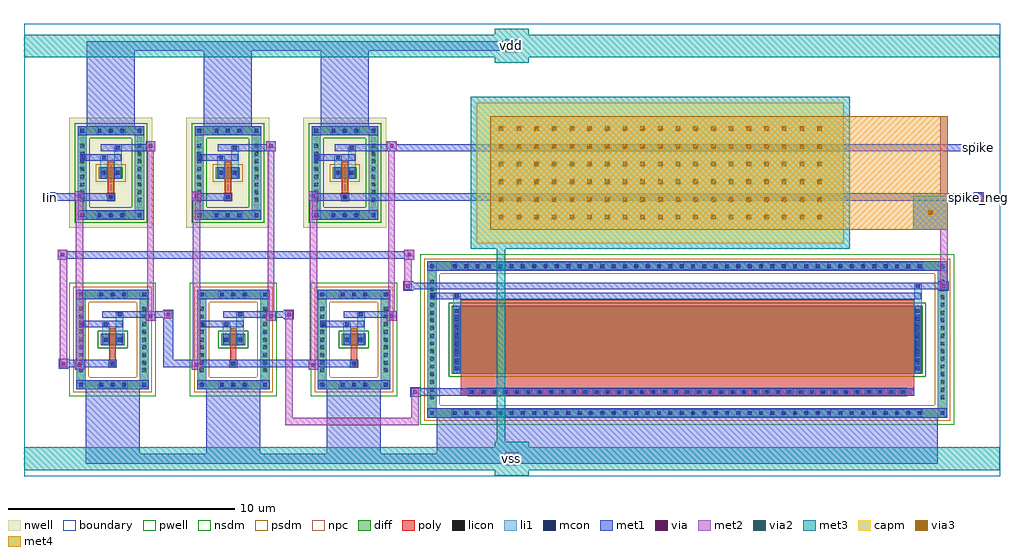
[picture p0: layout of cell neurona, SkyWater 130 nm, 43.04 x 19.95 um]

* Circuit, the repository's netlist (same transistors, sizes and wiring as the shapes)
** sch_path: /foss/designs/libs/snn_analog/lif/sch/neurona.sch
.subckt neurona Iin vdd vss spike spike_neg
*.PININFO vdd:B vss:B Iin:I spike:O spike_neg:O
XM2 spike_neg Iin vss vss sky130_fd_pr__nfet_01v8 L=0.28 W=0.5 nf=1
XM1 spike_neg Iin vdd vdd sky130_fd_pr__pfet_01v8 L=0.28 W=0.5 nf=1
XM3 spike/reset spike_neg vdd vdd sky130_fd_pr__pfet_01v8 L=0.28 W=0.5 nf=1
XM4 spike/reset spike_neg vss vss sky130_fd_pr__nfet_01v8 L=0.28 W=0.5 nf=1
XM5 Iin spike/reset vss vss sky130_fd_pr__nfet_01v8 L=20 W=3 nf=1
XM6 spike spike_neg vdd vdd sky130_fd_pr__pfet_01v8 L=0.28 W=0.5 nf=1
XM7 spike spike_neg vss vss sky130_fd_pr__nfet_01v8 L=0.28 W=0.5 nf=1
XC1 Iin vss sky130_fd_pr__cap_mim_m3_1 W=15 L=5
.ends

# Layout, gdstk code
import gdstk
lib = gdstk.Library(unit=1e-6, precision=1e-09)
def R(c, l, rs):  # rectangles x0, y0, x1, y1
    for r in rs: c.add(gdstk.rectangle(r[:2], r[2:], *l))
def A(c, l, x, y, w, h, nx, ny, dx, dy):  # array of equal rectangles
    R(c, l, [(x+i*dx, y+j*dy, x+i*dx+w, y+j*dy+h) for i in range(nx) for j in range(ny)])
def P(c, l, *ps):  # polygons
    for p in ps: c.add(gdstk.Polygon(p, *l))
nwell = (64, 20)
pwell = (64, 44)
diff = (65, 20)
poly = (66, 20)
licon = (66, 44)
li1 = (67, 20)
mcon = (67, 44)
met1 = (68, 20)
via = (68, 44)
met2 = (69, 20)
via2 = (69, 44)
met3 = (70, 20)
via3 = (70, 44)
met4 = (71, 20)
capm = (89, 44)
nsdm = (93, 44)
psdm = (94, 20)
npc = (95, 20)
boundary = (235, 4)

c_m1 = lib.new_cell('m1')
R(c_m1, nwell, [(-1.83,-2.425,1.83,2.425), (-1.65,-2.245,1.65,2.245)])
A(c_m1, diff, -0.705, -2.065, 0.41, 0.41, 3, 2, 0.5, 3.72)
A(c_m1, diff, -1.47, -1.395, 0.41, 0.41, 1, 8, 0, 0.34)
A(c_m1, diff, 1.06, -1.395, 0.41, 0.41, 1, 8, 0, 0.34)
R(c_m1, diff, [(-0.705,-2.065,0.705,-1.655), (-1.47,-1.395,-1.06,1.395), (1.06,-1.395,1.47,1.395), (-0.53,-0.25,0.53,0.25), (-0.705,1.655,0.705,2.065)])
P(c_m1, diff, [(-1.47,-2.065),(-1.47,-1.655),(-1.06,-1.655),(1.06,-1.655),(1.06,1.655),(-1.06,1.655),(-1.06,-1.655),(-1.47,-1.655),(-1.47,2.065),(1.47,2.065),(1.47,-2.065)])
R(c_m1, poly, [(-0.165,-1.23,0.165,-0.9), (-0.165,-1.23,0.165,-0.9), (-0.14,-0.9,0.14,-0.5), (-0.14,-0.5,0.14,0.5)])
A(c_m1, licon, -0.585, -1.945, 0.17, 0.17, 3, 2, 0.5, 3.72)
A(c_m1, licon, -1.35, -1.275, 0.17, 0.17, 1, 8, 0, 0.34)
A(c_m1, licon, 1.18, -1.275, 0.17, 0.17, 1, 8, 0, 0.34)
R(c_m1, licon, [(-0.085,-1.15,0.085,-0.98), (-0.39,-0.085,-0.22,0.085), (0.22,-0.085,0.39,0.085)])
A(c_m1, li1, -0.665, -2.025, 0.33, 0.33, 3, 2, 0.5, 3.72)
A(c_m1, li1, -1.43, -1.355, 0.33, 0.33, 1, 8, 0, 0.34)
A(c_m1, li1, 1.1, -1.355, 0.33, 0.33, 1, 8, 0, 0.34)
R(c_m1, li1, [(-1.47,-2.065,-1.06,-1.655), (1.06,-2.065,1.47,-1.655), (-0.665,-2.025,0.665,-1.695), (-1.35,-1.945,-1.18,-1.775), (-1.35,-1.945,-1.18,-1.775), (1.18,-1.945,1.35,-1.775), (1.18,-1.945,1.35,-1.775), (-1.47,-1.655,-1.06,1.655), (1.06,-1.655,1.47,1.655), (-0.165,-1.23,0.165,-0.9), (-0.47,-0.25,-0.14,0.25), (0.14,-0.25,0.47,0.25), (-0.47,-0.165,-0.14,0.165), (0.14,-0.165,0.47,0.165), (-0.39,-0.085,-0.22,0.085), (-0.39,-0.085,-0.22,0.085), (0.22,-0.085,0.39,0.085), (0.22,-0.085,0.39,0.085), (-0.47,0.25,-0.14,0.765), (0.14,0.25,0.47,1.195), (-0.39,0.595,-0.22,0.765), (0.22,1.025,0.39,1.195), (-1.47,1.655,-1.06,2.065), (1.06,1.655,1.47,2.065), (-0.665,1.695,0.665,2.025), (-1.35,1.775,-1.18,1.945), (-1.35,1.775,-1.18,1.945), (1.18,1.775,1.35,1.945), (1.18,1.775,1.35,1.945)])
A(c_m1, mcon, -0.585, -1.945, 0.17, 0.17, 3, 2, 0.5, 3.72)
R(c_m1, mcon, [(-1.35,-1.945,-1.18,-1.775), (1.18,-1.945,1.35,-1.775), (-0.085,-1.15,0.085,-0.98), (-0.39,-0.085,-0.22,0.085), (0.22,-0.085,0.39,0.085), (-0.39,0.595,-0.22,0.765), (0.22,1.025,0.39,1.195), (-1.35,1.775,-1.18,1.945), (1.18,1.775,1.35,1.945)])
A(c_m1, met1, -0.645, -2.005, 0.29, 0.29, 3, 2, 0.5, 3.72)
R(c_m1, met1, [(-1.47,-2.065,-1.06,-1.655), (-1.47,-2.065,-1.06,-1.655), (-1.06,-2.065,1.06,-1.655), (1.06,-2.065,1.47,-1.655), (1.06,-2.065,1.47,-1.655), (-1.41,-2.005,-1.12,-1.715), (1.12,-2.005,1.41,-1.715), (-0.165,-1.23,0.165,-0.9), (-0.145,-1.21,0.145,-0.92), (-0.45,-0.25,-0.16,0.25), (0.16,-0.25,0.45,0.25), (-0.45,-0.145,-0.16,0.145), (0.16,-0.145,0.45,0.145), (-0.45,0.535,-0.16,0.825), (-0.45,0.535,0.45,0.825), (-0.45,0.965,0.45,1.255), (0.16,0.965,0.45,1.255), (-1.47,1.655,-1.06,2.065), (-1.47,1.655,-1.06,2.065), (-1.06,1.655,1.06,2.065), (1.06,1.655,1.47,2.065), (1.06,1.655,1.47,2.065), (-1.41,1.715,-1.12,2.005), (1.12,1.715,1.41,2.005)])
P(c_m1, nsdm, [(-1.6,-2.195),(-1.6,-1.525),(-0.93,-1.525),(0.93,-1.525),(0.93,1.525),(-0.93,1.525),(-0.93,-1.525),(-1.6,-1.525),(-1.6,2.195),(1.6,2.195),(1.6,-2.195)])
R(c_m1, psdm, [(-0.66,-0.38,0.66,0.38)])
R(c_m1, npc, [(-0.185,-1.25,0.185,-0.88), (-0.185,-1.25,0.185,-0.88)])

c_m3 = lib.new_cell('m3')
R(c_m3, nwell, [(-1.83,-2.425,1.83,2.425), (-1.65,-2.245,1.65,2.245)])
A(c_m3, diff, -0.705, -2.065, 0.41, 0.41, 3, 2, 0.5, 3.72)
A(c_m3, diff, -1.47, -1.395, 0.41, 0.41, 1, 8, 0, 0.34)
A(c_m3, diff, 1.06, -1.395, 0.41, 0.41, 1, 8, 0, 0.34)
R(c_m3, diff, [(-0.705,-2.065,0.705,-1.655), (-1.47,-1.395,-1.06,1.395), (1.06,-1.395,1.47,1.395), (-0.53,-0.25,0.53,0.25), (-0.705,1.655,0.705,2.065)])
P(c_m3, diff, [(-1.47,-2.065),(-1.47,-1.655),(-1.06,-1.655),(1.06,-1.655),(1.06,1.655),(-1.06,1.655),(-1.06,-1.655),(-1.47,-1.655),(-1.47,2.065),(1.47,2.065),(1.47,-2.065)])
R(c_m3, poly, [(-0.165,-1.23,0.165,-0.9), (-0.165,-1.23,0.165,-0.9), (-0.14,-0.9,0.14,-0.5), (-0.14,-0.5,0.14,0.5)])
A(c_m3, licon, -0.585, -1.945, 0.17, 0.17, 3, 2, 0.5, 3.72)
A(c_m3, licon, -1.35, -1.275, 0.17, 0.17, 1, 8, 0, 0.34)
A(c_m3, licon, 1.18, -1.275, 0.17, 0.17, 1, 8, 0, 0.34)
R(c_m3, licon, [(-0.085,-1.15,0.085,-0.98), (-0.39,-0.085,-0.22,0.085), (0.22,-0.085,0.39,0.085)])
A(c_m3, li1, -0.665, -2.025, 0.33, 0.33, 3, 2, 0.5, 3.72)
A(c_m3, li1, -1.43, -1.355, 0.33, 0.33, 1, 8, 0, 0.34)
A(c_m3, li1, 1.1, -1.355, 0.33, 0.33, 1, 8, 0, 0.34)
R(c_m3, li1, [(-1.47,-2.065,-1.06,-1.655), (1.06,-2.065,1.47,-1.655), (-0.665,-2.025,0.665,-1.695), (-1.35,-1.945,-1.18,-1.775), (-1.35,-1.945,-1.18,-1.775), (1.18,-1.945,1.35,-1.775), (1.18,-1.945,1.35,-1.775), (-1.47,-1.655,-1.06,1.655), (1.06,-1.655,1.47,1.655), (-0.165,-1.23,0.165,-0.9), (-0.47,-0.25,-0.14,0.25), (0.14,-0.25,0.47,0.25), (-0.47,-0.165,-0.14,0.165), (0.14,-0.165,0.47,0.165), (-0.39,-0.085,-0.22,0.085), (-0.39,-0.085,-0.22,0.085), (0.22,-0.085,0.39,0.085), (0.22,-0.085,0.39,0.085), (-0.47,0.25,-0.14,0.765), (0.14,0.25,0.47,1.195), (-0.39,0.595,-0.22,0.765), (0.22,1.025,0.39,1.195), (-1.47,1.655,-1.06,2.065), (1.06,1.655,1.47,2.065), (-0.665,1.695,0.665,2.025), (-1.35,1.775,-1.18,1.945), (-1.35,1.775,-1.18,1.945), (1.18,1.775,1.35,1.945), (1.18,1.775,1.35,1.945)])
A(c_m3, mcon, -0.585, -1.945, 0.17, 0.17, 3, 2, 0.5, 3.72)
R(c_m3, mcon, [(-1.35,-1.945,-1.18,-1.775), (1.18,-1.945,1.35,-1.775), (-0.085,-1.15,0.085,-0.98), (-0.39,-0.085,-0.22,0.085), (0.22,-0.085,0.39,0.085), (-0.39,0.595,-0.22,0.765), (0.22,1.025,0.39,1.195), (-1.35,1.775,-1.18,1.945), (1.18,1.775,1.35,1.945)])
A(c_m3, met1, -0.645, -2.005, 0.29, 0.29, 3, 2, 0.5, 3.72)
R(c_m3, met1, [(-1.47,-2.065,-1.06,-1.655), (-1.47,-2.065,-1.06,-1.655), (-1.06,-2.065,1.06,-1.655), (1.06,-2.065,1.47,-1.655), (1.06,-2.065,1.47,-1.655), (-1.41,-2.005,-1.12,-1.715), (1.12,-2.005,1.41,-1.715), (-0.165,-1.23,0.165,-0.9), (-0.145,-1.21,0.145,-0.92), (-0.45,-0.25,-0.16,0.25), (0.16,-0.25,0.45,0.25), (-0.45,-0.145,-0.16,0.145), (0.16,-0.145,0.45,0.145), (-0.45,0.535,-0.16,0.825), (-0.45,0.535,0.45,0.825), (-0.45,0.965,0.45,1.255), (0.16,0.965,0.45,1.255), (-1.47,1.655,-1.06,2.065), (-1.47,1.655,-1.06,2.065), (-1.06,1.655,1.06,2.065), (1.06,1.655,1.47,2.065), (1.06,1.655,1.47,2.065), (-1.41,1.715,-1.12,2.005), (1.12,1.715,1.41,2.005)])
P(c_m3, nsdm, [(-1.6,-2.195),(-1.6,-1.525),(-0.93,-1.525),(0.93,-1.525),(0.93,1.525),(-0.93,1.525),(-0.93,-1.525),(-1.6,-1.525),(-1.6,2.195),(1.6,2.195),(1.6,-2.195)])
R(c_m3, psdm, [(-0.66,-0.38,0.66,0.38)])
R(c_m3, npc, [(-0.185,-1.25,0.185,-0.88), (-0.185,-1.25,0.185,-0.88)])

c_m6 = lib.new_cell('m6')
R(c_m6, nwell, [(-1.83,-2.425,1.83,2.425), (-1.65,-2.245,1.65,2.245)])
A(c_m6, diff, -0.705, -2.065, 0.41, 0.41, 3, 2, 0.5, 3.72)
A(c_m6, diff, -1.47, -1.395, 0.41, 0.41, 1, 8, 0, 0.34)
A(c_m6, diff, 1.06, -1.395, 0.41, 0.41, 1, 8, 0, 0.34)
R(c_m6, diff, [(-0.705,-2.065,0.705,-1.655), (-1.47,-1.395,-1.06,1.395), (1.06,-1.395,1.47,1.395), (-0.53,-0.25,0.53,0.25), (-0.705,1.655,0.705,2.065)])
P(c_m6, diff, [(-1.47,-2.065),(-1.47,-1.655),(-1.06,-1.655),(1.06,-1.655),(1.06,1.655),(-1.06,1.655),(-1.06,-1.655),(-1.47,-1.655),(-1.47,2.065),(1.47,2.065),(1.47,-2.065)])
R(c_m6, poly, [(-0.165,-1.23,0.165,-0.9), (-0.165,-1.23,0.165,-0.9), (-0.14,-0.9,0.14,-0.5), (-0.14,-0.5,0.14,0.5)])
A(c_m6, licon, -0.585, -1.945, 0.17, 0.17, 3, 2, 0.5, 3.72)
A(c_m6, licon, -1.35, -1.275, 0.17, 0.17, 1, 8, 0, 0.34)
A(c_m6, licon, 1.18, -1.275, 0.17, 0.17, 1, 8, 0, 0.34)
R(c_m6, licon, [(-0.085,-1.15,0.085,-0.98), (-0.39,-0.085,-0.22,0.085), (0.22,-0.085,0.39,0.085)])
A(c_m6, li1, -0.665, -2.025, 0.33, 0.33, 3, 2, 0.5, 3.72)
A(c_m6, li1, -1.43, -1.355, 0.33, 0.33, 1, 8, 0, 0.34)
A(c_m6, li1, 1.1, -1.355, 0.33, 0.33, 1, 8, 0, 0.34)
R(c_m6, li1, [(-1.47,-2.065,-1.06,-1.655), (1.06,-2.065,1.47,-1.655), (-0.665,-2.025,0.665,-1.695), (-1.35,-1.945,-1.18,-1.775), (-1.35,-1.945,-1.18,-1.775), (1.18,-1.945,1.35,-1.775), (1.18,-1.945,1.35,-1.775), (-1.47,-1.655,-1.06,1.655), (1.06,-1.655,1.47,1.655), (-0.165,-1.23,0.165,-0.9), (-0.47,-0.25,-0.14,0.25), (0.14,-0.25,0.47,0.25), (-0.47,-0.165,-0.14,0.165), (0.14,-0.165,0.47,0.165), (-0.39,-0.085,-0.22,0.085), (-0.39,-0.085,-0.22,0.085), (0.22,-0.085,0.39,0.085), (0.22,-0.085,0.39,0.085), (-0.47,0.25,-0.14,0.765), (0.14,0.25,0.47,1.195), (-0.39,0.595,-0.22,0.765), (0.22,1.025,0.39,1.195), (-1.47,1.655,-1.06,2.065), (1.06,1.655,1.47,2.065), (-0.665,1.695,0.665,2.025), (-1.35,1.775,-1.18,1.945), (-1.35,1.775,-1.18,1.945), (1.18,1.775,1.35,1.945), (1.18,1.775,1.35,1.945)])
A(c_m6, mcon, -0.585, -1.945, 0.17, 0.17, 3, 2, 0.5, 3.72)
R(c_m6, mcon, [(-1.35,-1.945,-1.18,-1.775), (1.18,-1.945,1.35,-1.775), (-0.085,-1.15,0.085,-0.98), (-0.39,-0.085,-0.22,0.085), (0.22,-0.085,0.39,0.085), (-0.39,0.595,-0.22,0.765), (0.22,1.025,0.39,1.195), (-1.35,1.775,-1.18,1.945), (1.18,1.775,1.35,1.945)])
A(c_m6, met1, -0.645, -2.005, 0.29, 0.29, 3, 2, 0.5, 3.72)
R(c_m6, met1, [(-1.47,-2.065,-1.06,-1.655), (-1.47,-2.065,-1.06,-1.655), (-1.06,-2.065,1.06,-1.655), (1.06,-2.065,1.47,-1.655), (1.06,-2.065,1.47,-1.655), (-1.41,-2.005,-1.12,-1.715), (1.12,-2.005,1.41,-1.715), (-0.165,-1.23,0.165,-0.9), (-0.145,-1.21,0.145,-0.92), (-0.45,-0.25,-0.16,0.25), (0.16,-0.25,0.45,0.25), (-0.45,-0.145,-0.16,0.145), (0.16,-0.145,0.45,0.145), (-0.45,0.535,-0.16,0.825), (-0.45,0.535,0.45,0.825), (-0.45,0.965,0.45,1.255), (0.16,0.965,0.45,1.255), (-1.47,1.655,-1.06,2.065), (-1.47,1.655,-1.06,2.065), (-1.06,1.655,1.06,2.065), (1.06,1.655,1.47,2.065), (1.06,1.655,1.47,2.065), (-1.41,1.715,-1.12,2.005), (1.12,1.715,1.41,2.005)])
P(c_m6, nsdm, [(-1.6,-2.195),(-1.6,-1.525),(-0.93,-1.525),(0.93,-1.525),(0.93,1.525),(-0.93,1.525),(-0.93,-1.525),(-1.6,-1.525),(-1.6,2.195),(1.6,2.195),(1.6,-2.195)])
R(c_m6, psdm, [(-0.66,-0.38,0.66,0.38)])
R(c_m6, npc, [(-0.185,-1.25,0.185,-0.88), (-0.185,-1.25,0.185,-0.88)])

c_m2 = lib.new_cell('m2')
R(c_m2, pwell, [(-1.91,-2.505,1.91,2.505)])
A(c_m2, diff, -0.705, -2.195, 0.41, 0.41, 3, 2, 0.5, 3.98)
A(c_m2, diff, -1.6, -1.565, 0.41, 0.41, 1, 9, 0, 0.34)
A(c_m2, diff, 1.19, -1.565, 0.41, 0.41, 1, 9, 0, 0.34)
R(c_m2, diff, [(-0.705,-2.195,0.705,-1.785), (-1.6,-1.565,-1.19,1.565), (1.19,-1.565,1.6,1.565), (-0.53,-0.25,0.53,0.25), (-0.705,1.785,0.705,2.195)])
P(c_m2, diff, [(-1.6,-2.195),(-1.6,-1.785),(-1.19,-1.785),(1.19,-1.785),(1.19,1.785),(-1.19,1.785),(-1.19,-1.785),(-1.6,-1.785),(-1.6,2.195),(1.6,2.195),(1.6,-2.195)])
R(c_m2, poly, [(-0.165,-1.23,0.165,-0.9), (-0.165,-1.23,0.165,-0.9), (-0.14,-0.9,0.14,-0.5), (-0.14,-0.5,0.14,0.5)])
A(c_m2, licon, -0.585, -2.075, 0.17, 0.17, 3, 2, 0.5, 3.98)
A(c_m2, licon, -1.48, -1.445, 0.17, 0.17, 1, 9, 0, 0.34)
A(c_m2, licon, 1.31, -1.445, 0.17, 0.17, 1, 9, 0, 0.34)
R(c_m2, licon, [(-0.085,-1.15,0.085,-0.98), (-0.39,-0.085,-0.22,0.085), (0.22,-0.085,0.39,0.085)])
A(c_m2, li1, -0.665, -2.155, 0.33, 0.33, 3, 2, 0.5, 3.98)
A(c_m2, li1, -1.56, -1.525, 0.33, 0.33, 1, 9, 0, 0.34)
A(c_m2, li1, 1.23, -1.525, 0.33, 0.33, 1, 9, 0, 0.34)
R(c_m2, li1, [(-1.6,-2.195,-1.19,-1.785), (1.19,-2.195,1.6,-1.785), (-0.665,-2.155,0.665,-1.825), (-1.48,-2.075,-1.31,-1.905), (-1.48,-2.075,-1.31,-1.905), (1.31,-2.075,1.48,-1.905), (1.31,-2.075,1.48,-1.905), (-1.6,-1.785,-1.19,1.785), (1.19,-1.785,1.6,1.785), (-0.165,-1.23,0.165,-0.9), (-0.47,-0.25,-0.14,0.25), (0.14,-0.25,0.47,0.25), (-0.47,-0.165,-0.14,0.165), (0.14,-0.165,0.47,0.165), (-0.39,-0.085,-0.22,0.085), (-0.39,-0.085,-0.22,0.085), (0.22,-0.085,0.39,0.085), (0.22,-0.085,0.39,0.085), (-0.47,0.25,-0.14,0.765), (0.14,0.25,0.47,1.195), (-0.39,0.595,-0.22,0.765), (0.22,1.025,0.39,1.195), (-1.6,1.785,-1.19,2.195), (1.19,1.785,1.6,2.195), (-0.665,1.825,0.665,2.155), (-1.48,1.905,-1.31,2.075), (-1.48,1.905,-1.31,2.075), (1.31,1.905,1.48,2.075), (1.31,1.905,1.48,2.075)])
A(c_m2, mcon, -0.585, -2.075, 0.17, 0.17, 3, 2, 0.5, 3.98)
R(c_m2, mcon, [(-1.48,-2.075,-1.31,-1.905), (1.31,-2.075,1.48,-1.905), (-0.085,-1.15,0.085,-0.98), (-0.39,-0.085,-0.22,0.085), (0.22,-0.085,0.39,0.085), (-0.39,0.595,-0.22,0.765), (0.22,1.025,0.39,1.195), (-1.48,1.905,-1.31,2.075), (1.31,1.905,1.48,2.075)])
A(c_m2, met1, -0.645, -2.135, 0.29, 0.29, 3, 2, 0.5, 3.98)
R(c_m2, met1, [(-1.6,-2.195,-1.19,-1.785), (-1.6,-2.195,-1.19,-1.785), (-1.19,-2.195,1.19,-1.785), (1.19,-2.195,1.6,-1.785), (1.19,-2.195,1.6,-1.785), (-1.54,-2.135,-1.25,-1.845), (1.25,-2.135,1.54,-1.845), (-0.165,-1.23,0.165,-0.9), (-0.145,-1.21,0.145,-0.92), (-0.45,-0.25,-0.16,0.25), (0.16,-0.25,0.45,0.25), (-0.45,-0.145,-0.16,0.145), (0.16,-0.145,0.45,0.145), (-0.45,0.535,-0.16,0.825), (-0.45,0.535,0.45,0.825), (-0.45,0.965,0.45,1.255), (0.16,0.965,0.45,1.255), (-1.6,1.785,-1.19,2.195), (-1.6,1.785,-1.19,2.195), (-1.19,1.785,1.19,2.195), (1.19,1.785,1.6,2.195), (1.19,1.785,1.6,2.195), (-1.54,1.845,-1.25,2.135), (1.25,1.845,1.54,2.135)])
R(c_m2, nsdm, [(-0.66,-0.38,0.66,0.38)])
P(c_m2, psdm, [(-1.73,-2.325),(-1.73,-1.655),(-1.06,-1.655),(1.06,-1.655),(1.06,1.655),(-1.06,1.655),(-1.06,-1.655),(-1.73,-1.655),(-1.73,2.325),(1.73,2.325),(1.73,-2.325)])
R(c_m2, npc, [(-0.185,-1.25,0.185,-0.88), (-0.185,-1.25,0.185,-0.88)])

c_m4 = lib.new_cell('m4')
R(c_m4, pwell, [(-1.91,-2.505,1.91,2.505)])
A(c_m4, diff, -0.705, -2.195, 0.41, 0.41, 3, 2, 0.5, 3.98)
A(c_m4, diff, -1.6, -1.565, 0.41, 0.41, 1, 9, 0, 0.34)
A(c_m4, diff, 1.19, -1.565, 0.41, 0.41, 1, 9, 0, 0.34)
R(c_m4, diff, [(-0.705,-2.195,0.705,-1.785), (-1.6,-1.565,-1.19,1.565), (1.19,-1.565,1.6,1.565), (-0.53,-0.25,0.53,0.25), (-0.705,1.785,0.705,2.195)])
P(c_m4, diff, [(-1.6,-2.195),(-1.6,-1.785),(-1.19,-1.785),(1.19,-1.785),(1.19,1.785),(-1.19,1.785),(-1.19,-1.785),(-1.6,-1.785),(-1.6,2.195),(1.6,2.195),(1.6,-2.195)])
R(c_m4, poly, [(-0.165,-1.23,0.165,-0.9), (-0.165,-1.23,0.165,-0.9), (-0.14,-0.9,0.14,-0.5), (-0.14,-0.5,0.14,0.5)])
A(c_m4, licon, -0.585, -2.075, 0.17, 0.17, 3, 2, 0.5, 3.98)
A(c_m4, licon, -1.48, -1.445, 0.17, 0.17, 1, 9, 0, 0.34)
A(c_m4, licon, 1.31, -1.445, 0.17, 0.17, 1, 9, 0, 0.34)
R(c_m4, licon, [(-0.085,-1.15,0.085,-0.98), (-0.39,-0.085,-0.22,0.085), (0.22,-0.085,0.39,0.085)])
A(c_m4, li1, -0.665, -2.155, 0.33, 0.33, 3, 2, 0.5, 3.98)
A(c_m4, li1, -1.56, -1.525, 0.33, 0.33, 1, 9, 0, 0.34)
A(c_m4, li1, 1.23, -1.525, 0.33, 0.33, 1, 9, 0, 0.34)
R(c_m4, li1, [(-1.6,-2.195,-1.19,-1.785), (1.19,-2.195,1.6,-1.785), (-0.665,-2.155,0.665,-1.825), (-1.48,-2.075,-1.31,-1.905), (-1.48,-2.075,-1.31,-1.905), (1.31,-2.075,1.48,-1.905), (1.31,-2.075,1.48,-1.905), (-1.6,-1.785,-1.19,1.785), (1.19,-1.785,1.6,1.785), (-0.165,-1.23,0.165,-0.9), (-0.47,-0.25,-0.14,0.25), (0.14,-0.25,0.47,0.25), (-0.47,-0.165,-0.14,0.165), (0.14,-0.165,0.47,0.165), (-0.39,-0.085,-0.22,0.085), (-0.39,-0.085,-0.22,0.085), (0.22,-0.085,0.39,0.085), (0.22,-0.085,0.39,0.085), (-0.47,0.25,-0.14,0.765), (0.14,0.25,0.47,1.195), (-0.39,0.595,-0.22,0.765), (0.22,1.025,0.39,1.195), (-1.6,1.785,-1.19,2.195), (1.19,1.785,1.6,2.195), (-0.665,1.825,0.665,2.155), (-1.48,1.905,-1.31,2.075), (-1.48,1.905,-1.31,2.075), (1.31,1.905,1.48,2.075), (1.31,1.905,1.48,2.075)])
A(c_m4, mcon, -0.585, -2.075, 0.17, 0.17, 3, 2, 0.5, 3.98)
R(c_m4, mcon, [(-1.48,-2.075,-1.31,-1.905), (1.31,-2.075,1.48,-1.905), (-0.085,-1.15,0.085,-0.98), (-0.39,-0.085,-0.22,0.085), (0.22,-0.085,0.39,0.085), (-0.39,0.595,-0.22,0.765), (0.22,1.025,0.39,1.195), (-1.48,1.905,-1.31,2.075), (1.31,1.905,1.48,2.075)])
A(c_m4, met1, -0.645, -2.135, 0.29, 0.29, 3, 2, 0.5, 3.98)
R(c_m4, met1, [(-1.6,-2.195,-1.19,-1.785), (-1.6,-2.195,-1.19,-1.785), (-1.19,-2.195,1.19,-1.785), (1.19,-2.195,1.6,-1.785), (1.19,-2.195,1.6,-1.785), (-1.54,-2.135,-1.25,-1.845), (1.25,-2.135,1.54,-1.845), (-0.165,-1.23,0.165,-0.9), (-0.145,-1.21,0.145,-0.92), (-0.45,-0.25,-0.16,0.25), (0.16,-0.25,0.45,0.25), (-0.45,-0.145,-0.16,0.145), (0.16,-0.145,0.45,0.145), (-0.45,0.535,-0.16,0.825), (-0.45,0.535,0.45,0.825), (-0.45,0.965,0.45,1.255), (0.16,0.965,0.45,1.255), (-1.6,1.785,-1.19,2.195), (-1.6,1.785,-1.19,2.195), (-1.19,1.785,1.19,2.195), (1.19,1.785,1.6,2.195), (1.19,1.785,1.6,2.195), (-1.54,1.845,-1.25,2.135), (1.25,1.845,1.54,2.135)])
R(c_m4, nsdm, [(-0.66,-0.38,0.66,0.38)])
P(c_m4, psdm, [(-1.73,-2.325),(-1.73,-1.655),(-1.06,-1.655),(1.06,-1.655),(1.06,1.655),(-1.06,1.655),(-1.06,-1.655),(-1.73,-1.655),(-1.73,2.325),(1.73,2.325),(1.73,-2.325)])
R(c_m4, npc, [(-0.185,-1.25,0.185,-0.88), (-0.185,-1.25,0.185,-0.88)])

c_m7 = lib.new_cell('m7')
R(c_m7, pwell, [(-1.91,-2.505,1.91,2.505)])
A(c_m7, diff, -0.705, -2.195, 0.41, 0.41, 3, 2, 0.5, 3.98)
A(c_m7, diff, -1.6, -1.565, 0.41, 0.41, 1, 9, 0, 0.34)
A(c_m7, diff, 1.19, -1.565, 0.41, 0.41, 1, 9, 0, 0.34)
R(c_m7, diff, [(-0.705,-2.195,0.705,-1.785), (-1.6,-1.565,-1.19,1.565), (1.19,-1.565,1.6,1.565), (-0.53,-0.25,0.53,0.25), (-0.705,1.785,0.705,2.195)])
P(c_m7, diff, [(-1.6,-2.195),(-1.6,-1.785),(-1.19,-1.785),(1.19,-1.785),(1.19,1.785),(-1.19,1.785),(-1.19,-1.785),(-1.6,-1.785),(-1.6,2.195),(1.6,2.195),(1.6,-2.195)])
R(c_m7, poly, [(-0.165,-1.23,0.165,-0.9), (-0.165,-1.23,0.165,-0.9), (-0.14,-0.9,0.14,-0.5), (-0.14,-0.5,0.14,0.5)])
A(c_m7, licon, -0.585, -2.075, 0.17, 0.17, 3, 2, 0.5, 3.98)
A(c_m7, licon, -1.48, -1.445, 0.17, 0.17, 1, 9, 0, 0.34)
A(c_m7, licon, 1.31, -1.445, 0.17, 0.17, 1, 9, 0, 0.34)
R(c_m7, licon, [(-0.085,-1.15,0.085,-0.98), (-0.39,-0.085,-0.22,0.085), (0.22,-0.085,0.39,0.085)])
A(c_m7, li1, -0.665, -2.155, 0.33, 0.33, 3, 2, 0.5, 3.98)
A(c_m7, li1, -1.56, -1.525, 0.33, 0.33, 1, 9, 0, 0.34)
A(c_m7, li1, 1.23, -1.525, 0.33, 0.33, 1, 9, 0, 0.34)
R(c_m7, li1, [(-1.6,-2.195,-1.19,-1.785), (1.19,-2.195,1.6,-1.785), (-0.665,-2.155,0.665,-1.825), (-1.48,-2.075,-1.31,-1.905), (-1.48,-2.075,-1.31,-1.905), (1.31,-2.075,1.48,-1.905), (1.31,-2.075,1.48,-1.905), (-1.6,-1.785,-1.19,1.785), (1.19,-1.785,1.6,1.785), (-0.165,-1.23,0.165,-0.9), (-0.47,-0.25,-0.14,0.25), (0.14,-0.25,0.47,0.25), (-0.47,-0.165,-0.14,0.165), (0.14,-0.165,0.47,0.165), (-0.39,-0.085,-0.22,0.085), (-0.39,-0.085,-0.22,0.085), (0.22,-0.085,0.39,0.085), (0.22,-0.085,0.39,0.085), (-0.47,0.25,-0.14,0.765), (0.14,0.25,0.47,1.195), (-0.39,0.595,-0.22,0.765), (0.22,1.025,0.39,1.195), (-1.6,1.785,-1.19,2.195), (1.19,1.785,1.6,2.195), (-0.665,1.825,0.665,2.155), (-1.48,1.905,-1.31,2.075), (-1.48,1.905,-1.31,2.075), (1.31,1.905,1.48,2.075), (1.31,1.905,1.48,2.075)])
A(c_m7, mcon, -0.585, -2.075, 0.17, 0.17, 3, 2, 0.5, 3.98)
R(c_m7, mcon, [(-1.48,-2.075,-1.31,-1.905), (1.31,-2.075,1.48,-1.905), (-0.085,-1.15,0.085,-0.98), (-0.39,-0.085,-0.22,0.085), (0.22,-0.085,0.39,0.085), (-0.39,0.595,-0.22,0.765), (0.22,1.025,0.39,1.195), (-1.48,1.905,-1.31,2.075), (1.31,1.905,1.48,2.075)])
A(c_m7, met1, -0.645, -2.135, 0.29, 0.29, 3, 2, 0.5, 3.98)
R(c_m7, met1, [(-1.6,-2.195,-1.19,-1.785), (-1.6,-2.195,-1.19,-1.785), (-1.19,-2.195,1.19,-1.785), (1.19,-2.195,1.6,-1.785), (1.19,-2.195,1.6,-1.785), (-1.54,-2.135,-1.25,-1.845), (1.25,-2.135,1.54,-1.845), (-0.165,-1.23,0.165,-0.9), (-0.145,-1.21,0.145,-0.92), (-0.45,-0.25,-0.16,0.25), (0.16,-0.25,0.45,0.25), (-0.45,-0.145,-0.16,0.145), (0.16,-0.145,0.45,0.145), (-0.45,0.535,-0.16,0.825), (-0.45,0.535,0.45,0.825), (-0.45,0.965,0.45,1.255), (0.16,0.965,0.45,1.255), (-1.6,1.785,-1.19,2.195), (-1.6,1.785,-1.19,2.195), (-1.19,1.785,1.19,2.195), (1.19,1.785,1.6,2.195), (1.19,1.785,1.6,2.195), (-1.54,1.845,-1.25,2.135), (1.25,1.845,1.54,2.135)])
R(c_m7, nsdm, [(-0.66,-0.38,0.66,0.38)])
P(c_m7, psdm, [(-1.73,-2.325),(-1.73,-1.655),(-1.06,-1.655),(1.06,-1.655),(1.06,1.655),(-1.06,1.655),(-1.06,-1.655),(-1.73,-1.655),(-1.73,2.325),(1.73,2.325),(1.73,-2.325)])
R(c_m7, npc, [(-0.185,-1.25,0.185,-0.88), (-0.185,-1.25,0.185,-0.88)])

c_m5 = lib.new_cell('m5')
R(c_m5, pwell, [(-11.77,-3.755,11.77,3.755)])
A(c_m5, diff, -10.455, -3.445, 0.41, 0.41, 42, 2, 0.5, 6.48)
A(c_m5, diff, -11.46, -2.755, 0.41, 0.41, 1, 16, 0, 0.34)
A(c_m5, diff, 11.05, -2.755, 0.41, 0.41, 1, 16, 0, 0.34)
R(c_m5, diff, [(-10.455,-3.445,10.455,-3.035), (-11.46,-2.755,-11.05,2.755), (11.05,-2.755,11.46,2.755), (-10.39,-1.5,10.39,1.5), (-10.455,3.035,10.455,3.445)])
P(c_m5, diff, [(-11.46,-3.445),(-11.46,-3.035),(-11.05,-3.035),(11.05,-3.035),(11.05,3.035),(-11.05,3.035),(-11.05,-3.035),(-11.46,-3.035),(-11.46,3.445),(11.46,3.445),(11.46,-3.445)])
A(c_m5, poly, -9.665, -2.48, 0.33, 0.33, 39, 1, 0.5, 0)
R(c_m5, poly, [(-10,-2.48,10,-2.15), (-10,-2.15,10,-1.75), (-10,-1.75,10,1.75)])
A(c_m5, licon, -10.335, -3.325, 0.17, 0.17, 42, 2, 0.5, 6.48)
A(c_m5, licon, -11.34, -2.635, 0.17, 0.17, 1, 16, 0, 0.34)
A(c_m5, licon, 11.17, -2.635, 0.17, 0.17, 1, 16, 0, 0.34)
A(c_m5, licon, -9.585, -2.4, 0.17, 0.17, 39, 1, 0.5, 0)
A(c_m5, licon, -10.25, -1.105, 0.17, 0.17, 1, 7, 0, 0.34)
A(c_m5, licon, 10.08, -1.105, 0.17, 0.17, 1, 7, 0, 0.34)
A(c_m5, li1, -10.415, -3.405, 0.33, 0.33, 42, 2, 0.5, 6.48)
A(c_m5, li1, -11.42, -2.715, 0.33, 0.33, 1, 16, 0, 0.34)
A(c_m5, li1, 11.09, -2.715, 0.33, 0.33, 1, 16, 0, 0.34)
A(c_m5, li1, -9.665, -2.48, 0.33, 0.33, 39, 1, 0.5, 0)
A(c_m5, li1, -10.25, -1.345, 0.17, 0.17, 1, 8, 0, 0.36)
A(c_m5, li1, 10.08, -1.345, 0.17, 0.17, 1, 8, 0, 0.36)
A(c_m5, li1, -10.33, -1.185, 0.33, 0.33, 1, 7, 0, 0.34)
A(c_m5, li1, 10, -1.185, 0.33, 0.33, 1, 7, 0, 0.34)
R(c_m5, li1, [(-11.46,-3.445,-11.05,-3.035), (11.05,-3.445,11.46,-3.035), (-10.415,-3.405,10.415,-3.075), (-11.34,-3.325,-11.17,-3.155), (-11.34,-3.325,-11.17,-3.155), (11.17,-3.325,11.34,-3.155), (11.17,-3.325,11.34,-3.155), (-11.46,-3.035,-11.05,3.035), (11.05,-3.035,11.46,3.035), (-10.33,-1.5,-10,1.5), (10,-1.5,10.33,1.5), (-10.25,-1.345,-10.08,1.345), (10.08,-1.345,10.25,1.345), (-10.33,1.5,-10,2.015), (10,1.5,10.33,2.445), (-10.25,1.845,-10.08,2.015), (10.08,2.275,10.25,2.445), (-11.46,3.035,-11.05,3.445), (11.05,3.035,11.46,3.445), (-10.415,3.075,10.415,3.405), (-11.34,3.155,-11.17,3.325), (-11.34,3.155,-11.17,3.325), (11.17,3.155,11.34,3.325), (11.17,3.155,11.34,3.325)])
A(c_m5, mcon, -10.335, -3.325, 0.17, 0.17, 42, 2, 0.5, 6.48)
A(c_m5, mcon, -9.585, -2.4, 0.17, 0.17, 39, 1, 0.5, 0)
A(c_m5, mcon, -10.25, -1.345, 0.17, 0.17, 1, 8, 0, 0.36)
A(c_m5, mcon, 10.08, -1.345, 0.17, 0.17, 1, 8, 0, 0.36)
R(c_m5, mcon, [(-11.34,-3.325,-11.17,-3.155), (11.17,-3.325,11.34,-3.155), (-10.25,1.845,-10.08,2.015), (10.08,2.275,10.25,2.445), (-11.34,3.155,-11.17,3.325), (11.17,3.155,11.34,3.325)])
A(c_m5, met1, -10.395, -3.385, 0.29, 0.29, 42, 2, 0.5, 6.48)
A(c_m5, met1, -9.645, -2.46, 0.29, 0.29, 39, 1, 0.5, 0)
A(c_m5, met1, -10.31, -1.405, 0.29, 0.29, 1, 8, 0, 0.36)
A(c_m5, met1, 10.02, -1.405, 0.29, 0.29, 1, 8, 0, 0.36)
R(c_m5, met1, [(-11.46,-3.445,-11.05,-3.035), (-11.46,-3.445,-11.05,-3.035), (-11.05,-3.445,11.05,-3.035), (11.05,-3.445,11.46,-3.035), (11.05,-3.445,11.46,-3.035), (-11.4,-3.385,-11.11,-3.095), (11.11,-3.385,11.4,-3.095), (-10,-2.48,10,-2.15), (-10.31,-1.5,-10.02,1.5), (10.02,-1.5,10.31,1.5), (-10.31,1.785,10.31,2.075), (-10.31,1.785,-10.02,2.075), (-10.31,2.215,10.31,2.505), (10.02,2.215,10.31,2.505), (-11.46,3.035,-11.05,3.445), (-11.46,3.035,-11.05,3.445), (-11.05,3.035,11.05,3.445), (11.05,3.035,11.46,3.445), (11.05,3.035,11.46,3.445), (-11.4,3.095,-11.11,3.385), (11.11,3.095,11.4,3.385)])
R(c_m5, nsdm, [(-10.52,-1.63,10.52,1.63)])
P(c_m5, psdm, [(-11.59,-3.575),(-11.59,-2.905),(-10.92,-2.905),(10.92,-2.905),(10.92,2.905),(-10.92,2.905),(-10.92,-2.905),(-11.59,-2.905),(-11.59,3.575),(11.59,3.575),(11.59,-3.575)])
A(c_m5, npc, -9.685, -2.5, 0.37, 0.37, 39, 1, 0.5, 0)
R(c_m5, npc, [(-9.685,-2.5,-8.815,-2.13), (-9.685,-2.5,-8.815,-2.13), (-9.185,-2.5,-8.315,-2.13), (-9.185,-2.5,-8.315,-2.13), (-8.685,-2.5,-7.815,-2.13), (-8.685,-2.5,-7.815,-2.13), (-8.185,-2.5,-7.315,-2.13), (-8.185,-2.5,-7.315,-2.13), (-7.685,-2.5,-6.815,-2.13), (-7.685,-2.5,-6.815,-2.13), (-7.185,-2.5,-6.315,-2.13), (-7.185,-2.5,-6.315,-2.13), (-6.685,-2.5,-5.815,-2.13), (-6.685,-2.5,-5.815,-2.13), (-6.185,-2.5,-5.315,-2.13), (-6.185,-2.5,-5.315,-2.13), (-5.685,-2.5,-4.815,-2.13), (-5.685,-2.5,-4.815,-2.13), (-5.185,-2.5,-4.315,-2.13), (-5.185,-2.5,-4.315,-2.13), (-4.685,-2.5,-3.815,-2.13), (-4.685,-2.5,-3.815,-2.13), (-4.185,-2.5,-3.315,-2.13), (-4.185,-2.5,-3.315,-2.13), (-3.685,-2.5,-2.815,-2.13), (-3.685,-2.5,-2.815,-2.13), (-3.185,-2.5,-2.315,-2.13), (-3.185,-2.5,-2.315,-2.13), (-2.685,-2.5,-1.815,-2.13), (-2.685,-2.5,-1.815,-2.13), (-2.185,-2.5,-1.315,-2.13), (-2.185,-2.5,-1.315,-2.13), (-1.685,-2.5,-0.815,-2.13), (-1.685,-2.5,-0.815,-2.13), (-1.185,-2.5,-0.315,-2.13), (-1.185,-2.5,-0.315,-2.13), (-0.685,-2.5,0.185,-2.13), (-0.685,-2.5,0.185,-2.13), (-0.185,-2.5,0.685,-2.13), (-0.185,-2.5,0.685,-2.13), (0.315,-2.5,1.185,-2.13), (0.315,-2.5,1.185,-2.13), (0.815,-2.5,1.685,-2.13), (0.815,-2.5,1.685,-2.13), (1.315,-2.5,2.185,-2.13), (1.315,-2.5,2.185,-2.13), (1.815,-2.5,2.685,-2.13), (1.815,-2.5,2.685,-2.13), (2.315,-2.5,3.185,-2.13), (2.315,-2.5,3.185,-2.13), (2.815,-2.5,3.685,-2.13), (2.815,-2.5,3.685,-2.13), (3.315,-2.5,4.185,-2.13), (3.315,-2.5,4.185,-2.13), (3.815,-2.5,4.685,-2.13), (3.815,-2.5,4.685,-2.13), (4.315,-2.5,5.185,-2.13), (4.315,-2.5,5.185,-2.13), (4.815,-2.5,5.685,-2.13), (4.815,-2.5,5.685,-2.13), (5.315,-2.5,6.185,-2.13), (5.315,-2.5,6.185,-2.13), (5.815,-2.5,6.685,-2.13), (5.815,-2.5,6.685,-2.13), (6.315,-2.5,7.185,-2.13), (6.315,-2.5,7.185,-2.13), (6.815,-2.5,7.685,-2.13), (6.815,-2.5,7.685,-2.13), (7.315,-2.5,8.185,-2.13), (7.315,-2.5,8.185,-2.13), (7.815,-2.5,8.685,-2.13), (7.815,-2.5,8.685,-2.13), (8.315,-2.5,9.185,-2.13), (8.315,-2.5,9.185,-2.13), (8.815,-2.5,9.685,-2.13), (8.815,-2.5,9.685,-2.13)])

cap = lib.new_cell('cap')
R(cap, met3, [(-8.1,-3.1,8.1,3.1)])
A(cap, via3, -7.12, -2.05, 0.2, 0.2, 19, 6, 0.78, 0.78)
A(cap, met4, -7.19, -2.12, 0.34, 0.34, 19, 6, 0.78, 0.78)
R(cap, met4, [(-7.5,-2.5,7.5,2.5)])
R(cap, capm, [(-8.1,-3.1,8.1,3.1)])

compass_b72df3f3 = lib.new_cell('compass_b72df3f3')
R(compass_b72df3f3, met3, [(-21.51,-0.5,21.51,0.5)])

rectangle_b72df3f3 = lib.new_cell('rectangle_b72df3f3')
rectangle_b72df3f3.add(gdstk.Reference(compass_b72df3f3, (21.51,0.5)))

compass_b72df3f3_1 = lib.new_cell('compass_b72df3f3$1')
R(compass_b72df3f3_1, met3, [(-21.51,-0.5,21.51,0.5)])

rectangle_b72df3f3_1 = lib.new_cell('rectangle_b72df3f3$1')
rectangle_b72df3f3_1.add(gdstk.Reference(compass_b72df3f3_1, (21.51,0.5)))

via_stack_0d486145 = lib.new_cell('via_stack_0d486145')
R(via_stack_0d486145, met1, [(-0.215,-0.215,0.215,0.215)])
R(via_stack_0d486145, via, [(-0.075,-0.075,0.075,0.075)])
R(via_stack_0d486145, met2, [(-0.29,-0.29,0.29,0.29)])
R(via_stack_0d486145, via2, [(-0.1,-0.1,0.1,0.1)])
R(via_stack_0d486145, met3, [(-0.75,-0.75,0.75,0.75)])

l_route_a539dedf = lib.new_cell('L_route_a539dedf')
R(l_route_a539dedf, met1, [(0.77,13.17,2.89,16.92), (0.77,16.49,19.295,16.92)])

l_route_eeb94c01 = lib.new_cell('L_route_eeb94c01')
R(l_route_eeb94c01, met1, [(5.93,13.17,8.05,16.92), (5.93,16.49,19.295,16.92)])

l_route_c2c5dc9c = lib.new_cell('L_route_c2c5dc9c')
R(l_route_c2c5dc9c, met1, [(11.09,13.17,13.21,16.92), (11.09,16.49,19.295,16.92)])

l_route_17258f58 = lib.new_cell('L_route_17258f58')
R(l_route_17258f58, met1, [(0.72,-1.715,19.295,-1.285), (0.72,-1.715,3.1,1.56)])

l_route_67cf513e = lib.new_cell('L_route_67cf513e')
R(l_route_67cf513e, met1, [(6.04,-1.715,19.295,-1.285), (6.04,-1.715,8.42,1.56)])

l_route_171664f0 = lib.new_cell('L_route_171664f0')
R(l_route_171664f0, met1, [(11.36,-1.715,19.295,-1.285), (11.36,-1.715,13.74,1.56)])

l_route_3e0428c7 = lib.new_cell('L_route_3e0428c7')
R(l_route_3e0428c7, met1, [(16.2,-1.715,38.3,0.31), (19.295,-1.715,38.3,-1.285)])

straight_route_551e45df = lib.new_cell('straight_route_551e45df')
R(straight_route_551e45df, li1, [(0.49,4.35,0.66,4.52)])
R(straight_route_551e45df, mcon, [(0.49,4.35,0.66,4.52)])
R(straight_route_551e45df, met1, [(0.43,4.29,0.72,4.58), (0.72,4.29,1.46,4.58)])

straight_route_c7d8bf1d = lib.new_cell('straight_route_c7d8bf1d')
R(straight_route_c7d8bf1d, li1, [(5.81,4.35,5.98,4.52)])
R(straight_route_c7d8bf1d, mcon, [(5.81,4.35,5.98,4.52)])
R(straight_route_c7d8bf1d, met1, [(5.75,4.29,6.04,4.58), (6.04,4.29,6.78,4.58)])

straight_route_282a8469 = lib.new_cell('straight_route_282a8469')
R(straight_route_282a8469, li1, [(11.13,4.35,11.3,4.52)])
R(straight_route_282a8469, mcon, [(11.13,4.35,11.3,4.52)])
R(straight_route_282a8469, met1, [(11.07,4.29,11.36,4.58), (11.36,4.29,12.1,4.58)])

straight_route_f32993c3 = lib.new_cell('straight_route_f32993c3')
R(straight_route_f32993c3, li1, [(15.97,5.6,16.14,5.77)])
R(straight_route_f32993c3, mcon, [(15.97,5.6,16.14,5.77)])
R(straight_route_f32993c3, met1, [(15.91,5.54,16.2,5.83), (16.2,5.54,16.94,5.83)])

straight_route_8c97da5f = lib.new_cell('straight_route_8c97da5f')
R(straight_route_8c97da5f, li1, [(0.54,11.7,0.71,11.87)])
R(straight_route_8c97da5f, mcon, [(0.54,11.7,0.71,11.87)])
R(straight_route_8c97da5f, met1, [(0.48,11.64,0.77,11.93), (0.77,11.64,1.38,11.93)])

straight_route_1e3f4bfe = lib.new_cell('straight_route_1e3f4bfe')
R(straight_route_1e3f4bfe, li1, [(5.7,11.7,5.87,11.87)])
R(straight_route_1e3f4bfe, mcon, [(5.7,11.7,5.87,11.87)])
R(straight_route_1e3f4bfe, met1, [(5.64,11.64,5.93,11.93), (5.93,11.64,6.54,11.93)])

straight_route_5e99c53e = lib.new_cell('straight_route_5e99c53e')
R(straight_route_5e99c53e, li1, [(10.86,11.7,11.03,11.87)])
R(straight_route_5e99c53e, mcon, [(10.86,11.7,11.03,11.87)])
R(straight_route_5e99c53e, met1, [(10.8,11.64,11.09,11.93), (11.09,11.64,11.7,11.93)])

c_route_eaf8ed14 = lib.new_cell('c_route_eaf8ed14')
R(c_route_eaf8ed14, met1, [(0.235,2.425,0.665,2.855), (0.235,2.525,1.745,2.855), (0.235,9.875,1.665,10.205), (0.235,9.875,0.665,10.305)])
R(c_route_eaf8ed14, via, [(0.375,2.565,0.525,2.715), (0.375,10.015,0.525,10.165)])
R(c_route_eaf8ed14, met2, [(0.235,2.425,0.665,2.855), (0.285,2.425,0.615,10.305), (0.615,2.425,0.665,2.855), (0.285,2.475,0.615,2.805), (0.235,9.875,0.665,10.305), (0.615,9.875,0.665,10.305), (0.285,9.925,0.615,10.255)])

c_route_7298c5e2 = lib.new_cell('c_route_7298c5e2')
R(c_route_7298c5e2, met1, [(3.36,4.58,3.79,5.01), (2.36,4.72,3.79,5.01), (2.28,12.07,3.79,12.36), (3.36,12.07,3.79,12.5)])
R(c_route_7298c5e2, via, [(3.5,4.72,3.65,4.87), (3.5,12.21,3.65,12.36)])
R(c_route_7298c5e2, met2, [(3.36,4.58,3.79,5.01), (3.43,4.58,3.72,12.5), (3.72,4.58,3.79,5.01), (3.41,4.63,3.74,4.96), (3.36,12.07,3.79,12.5), (3.72,12.07,3.79,12.5), (3.41,12.12,3.74,12.45)])

c_route_bf0847fe = lib.new_cell('c_route_bf0847fe')
R(c_route_bf0847fe, met1, [(5.395,2.425,5.825,2.855), (5.395,2.525,7.065,2.855), (5.395,9.875,6.825,10.205), (5.395,9.875,5.825,10.305)])
R(c_route_bf0847fe, via, [(5.535,2.565,5.685,2.715), (5.535,10.015,5.685,10.165)])
R(c_route_bf0847fe, met2, [(5.395,2.425,5.825,2.855), (5.445,2.425,5.775,10.305), (5.775,2.425,5.825,2.855), (5.445,2.475,5.775,2.805), (5.395,9.875,5.825,10.305), (5.775,9.875,5.825,10.305), (5.445,9.925,5.775,10.255)])

c_route_5dbe656e = lib.new_cell('c_route_5dbe656e')
R(c_route_5dbe656e, met1, [(8.68,4.58,9.11,5.01), (7.68,4.72,9.11,5.01), (7.44,12.07,9.11,12.36), (8.68,12.07,9.11,12.5)])
R(c_route_5dbe656e, via, [(8.82,4.72,8.97,4.87), (8.82,12.21,8.97,12.36)])
R(c_route_5dbe656e, met2, [(8.68,4.58,9.11,5.01), (8.75,4.58,9.04,12.5), (9.04,4.58,9.11,5.01), (8.73,4.63,9.06,4.96), (8.68,12.07,9.11,12.5), (9.04,12.07,9.11,12.5), (8.73,12.12,9.06,12.45)])

c_route_8bf6d516 = lib.new_cell('c_route_8bf6d516')
R(c_route_8bf6d516, met1, [(10.555,2.425,10.985,2.855), (10.555,2.525,12.385,2.855), (10.555,9.875,11.985,10.205), (10.555,9.875,10.985,10.305)])
R(c_route_8bf6d516, via, [(10.695,2.565,10.845,2.715), (10.695,10.015,10.845,10.165)])
R(c_route_8bf6d516, met2, [(10.555,2.425,10.985,2.855), (10.605,2.425,10.935,10.305), (10.935,2.425,10.985,2.855), (10.605,2.475,10.935,2.805), (10.555,9.875,10.985,10.305), (10.935,9.875,10.985,10.305), (10.605,9.925,10.935,10.255)])

c_route_183054e4 = lib.new_cell('c_route_183054e4')
R(c_route_183054e4, met1, [(14,4.58,14.43,5.01), (13,4.72,14.43,5.01), (12.6,12.07,14.43,12.36), (14,12.07,14.43,12.5)])
R(c_route_183054e4, via, [(14.14,4.72,14.29,4.87), (14.14,12.21,14.29,12.36)])
R(c_route_183054e4, met2, [(14,4.58,14.43,5.01), (14.07,4.58,14.36,12.5), (14.36,4.58,14.43,5.01), (14.05,4.63,14.38,4.96), (14,12.07,14.43,12.5), (14.36,12.07,14.43,12.5), (14.05,12.12,14.38,12.45)])

straight_route_c3cebce7 = lib.new_cell('straight_route_c3cebce7')
R(straight_route_c3cebce7, met1, [(7.395,2.525,12.385,2.855)])

via_stack_05d99bde = lib.new_cell('via_stack_05d99bde')
R(via_stack_05d99bde, met1, [(-0.215,-0.215,0.215,0.215)])
R(via_stack_05d99bde, via, [(-0.075,-0.075,0.075,0.075)])
R(via_stack_05d99bde, met2, [(-0.165,-0.165,0.165,0.165)])

straight_route_ca2e5e9d = lib.new_cell('straight_route_ca2e5e9d')
R(straight_route_ca2e5e9d, met1, [(2.36,4.72,4.145,5.01)])

l_route_ec1540d8 = lib.new_cell('L_route_ec1540d8')
R(l_route_ec1540d8, met1, [(4.145,2.525,7.065,2.855), (4.145,2.525,4.575,4.65)])

straight_route_2087bfb6 = lib.new_cell('straight_route_2087bfb6')
R(straight_route_2087bfb6, met1, [(-0.04,2.525,1.745,2.855)])

straight_route_8b06959e = lib.new_cell('straight_route_8b06959e')
R(straight_route_8b06959e, met1, [(15.155,5.97,16.94,6.26)])

c_route_d11777e1 = lib.new_cell('c_route_d11777e1')
R(c_route_d11777e1, met1, [(-0.52,7.28,-0.09,7.71), (14.775,7.28,15.205,7.71), (-0.52,7.33,15.205,7.66), (-0.52,7.66,-0.09,7.71), (14.775,7.66,15.205,7.71)])
R(c_route_d11777e1, via, [(-0.38,7.42,-0.23,7.57), (14.915,7.42,15.065,7.57)])
R(c_route_d11777e1, met2, [(-0.42,2.855,-0.09,7.71), (14.775,6.28,15.105,7.71), (-0.52,7.28,-0.09,7.71), (14.775,7.28,15.205,7.71), (-0.47,7.33,-0.14,7.66), (14.825,7.33,15.155,7.66)])

straight_route_06d91427 = lib.new_cell('straight_route_06d91427')
R(straight_route_06d91427, met1, [(15.465,1.275,17.25,1.605)])

straight_route_ddeb0624 = lib.new_cell('straight_route_ddeb0624')
R(straight_route_ddeb0624, met1, [(7.68,4.72,9.465,5.01)])

c_route_d1026765 = lib.new_cell('c_route_d1026765')
R(c_route_d1026765, met2, [(9.515,-0.03,15.415,0.3), (9.515,-0.005,9.795,0.275), (9.515,-0.005,9.845,4.7), (15.085,-0.005,15.415,1.275), (15.135,-0.005,15.415,0.275), (9.515,0.275,9.795,0.3), (15.135,0.275,15.415,0.3)])

straight_route_e694242e = lib.new_cell('straight_route_e694242e')
R(straight_route_e694242e, met1, [(37.56,5.97,38.345,6.26)])

l_route_fa611628 = lib.new_cell('L_route_fa611628')
R(l_route_fa611628, met2, [(38.395,6.28,38.725,13.605), (37.225,8.605,38.725,10.105), (37.685,9.065,38.265,9.645)])
R(l_route_fa611628, via2, [(37.875,9.255,38.075,9.455)])
R(l_route_fa611628, met3, [(37.225,8.605,38.725,10.105)])
R(l_route_fa611628, via3, [(37.875,9.255,38.075,9.455)])
R(l_route_fa611628, met4, [(33.56,8.605,38.725,13.605), (37.225,8.605,38.725,10.105), (37.805,9.185,38.145,9.525)])

l_route_804dd962 = lib.new_cell('L_route_804dd962')
R(l_route_804dd962, met3, [(18.85,-2.25,20.26,-0.75), (18.85,-2.25,19.23,8.965)])

compass_85b0b276 = lib.new_cell('compass_85b0b276')
R(compass_85b0b276, met3, [(-8.35,-3.35,8.35,3.35)])

rectangle_85b0b276 = lib.new_cell('rectangle_85b0b276')
rectangle_85b0b276.add(gdstk.Reference(compass_85b0b276, (8.35,3.35)))

via_stack_05d99bde_1 = lib.new_cell('via_stack_05d99bde$1')
R(via_stack_05d99bde_1, met1, [(-0.215,-0.215,0.215,0.215)])
R(via_stack_05d99bde_1, via, [(-0.075,-0.075,0.075,0.075)])
R(via_stack_05d99bde_1, met2, [(-0.165,-0.165,0.165,0.165)])

straight_route_1ce3acfd = lib.new_cell('straight_route_1ce3acfd')
R(straight_route_1ce3acfd, met1, [(14.6,14.32,41.885,14.61)])

straight_route_21e65f9e = lib.new_cell('straight_route_21e65f9e')
R(straight_route_21e65f9e, met1, [(14.315,12.125,41.885,12.455)])

straight_route_036f5a70 = lib.new_cell('straight_route_036f5a70')
R(straight_route_036f5a70, met1, [(0.95,12.125,3.665,12.455)])

neurona = lib.new_cell('neurona')
R(neurona, boundary, [(0,-0.02,43.04,19.93)])
neurona.add(gdstk.Reference(c_m1, (3.83,13.355)))
neurona.add(gdstk.Reference(c_m3, (8.99,13.355)))
neurona.add(gdstk.Reference(c_m6, (14.15,13.355)))
neurona.add(gdstk.Reference(c_m2, (3.91,6.005)))
neurona.add(gdstk.Reference(c_m4, (9.23,6.005)))
neurona.add(gdstk.Reference(c_m7, (14.55,6.005)))
neurona.add(gdstk.Reference(c_m5, (29.25,6.005)))
neurona.add(gdstk.Reference(cap, (28.06,13.355)))
neurona.add(gdstk.Reference(rectangle_b72df3f3, (0,18.455)))
neurona.add(gdstk.Reference(rectangle_b72df3f3_1, (0,0.25)))
neurona.add(gdstk.Reference(via_stack_0d486145, (21.51,18.955)))
neurona.add(gdstk.Reference(via_stack_0d486145, (21.51,0.75)))
neurona.add(gdstk.Reference(l_route_a539dedf, (2,2.25)))
neurona.add(gdstk.Reference(l_route_eeb94c01, (2,2.25)))
neurona.add(gdstk.Reference(l_route_c2c5dc9c, (2,2.25)))
neurona.add(gdstk.Reference(l_route_17258f58, (2,2.25)))
neurona.add(gdstk.Reference(l_route_67cf513e, (2,2.25)))
neurona.add(gdstk.Reference(l_route_171664f0, (2,2.25)))
neurona.add(gdstk.Reference(l_route_3e0428c7, (2,2.25)))
neurona.add(gdstk.Reference(straight_route_551e45df, (2,2.25)))
neurona.add(gdstk.Reference(straight_route_c7d8bf1d, (2,2.25)))
neurona.add(gdstk.Reference(straight_route_282a8469, (2,2.25)))
neurona.add(gdstk.Reference(straight_route_f32993c3, (2,2.25)))
neurona.add(gdstk.Reference(straight_route_8c97da5f, (2,2.25)))
neurona.add(gdstk.Reference(straight_route_1e3f4bfe, (2,2.25)))
neurona.add(gdstk.Reference(straight_route_5e99c53e, (2,2.25)))
neurona.add(gdstk.Reference(c_route_eaf8ed14, (2,2.25)))
neurona.add(gdstk.Reference(c_route_7298c5e2, (2,2.25)))
neurona.add(gdstk.Reference(c_route_bf0847fe, (2,2.25)))
neurona.add(gdstk.Reference(c_route_5dbe656e, (2,2.25)))
neurona.add(gdstk.Reference(c_route_8bf6d516, (2,2.25)))
neurona.add(gdstk.Reference(c_route_183054e4, (2,2.25)))
neurona.add(gdstk.Reference(straight_route_c3cebce7, (2,2.25)))
neurona.add(gdstk.Reference(via_stack_05d99bde, (6.36,7.115)))
neurona.add(gdstk.Reference(straight_route_ca2e5e9d, (2,2.25)))
neurona.add(gdstk.Reference(l_route_ec1540d8, (2,2.25)))
neurona.add(gdstk.Reference(via_stack_05d99bde, (16.94,8.365)))
neurona.add(gdstk.Reference(via_stack_05d99bde, (1.745,4.94)))
neurona.add(gdstk.Reference(straight_route_2087bfb6, (2,2.25)))
neurona.add(gdstk.Reference(straight_route_8b06959e, (2,2.25)))
neurona.add(gdstk.Reference(c_route_d11777e1, (2,2.25)))
neurona.add(gdstk.Reference(via_stack_05d99bde, (17.25,3.69)))
neurona.add(gdstk.Reference(via_stack_05d99bde, (11.68,7.115)))
neurona.add(gdstk.Reference(straight_route_06d91427, (2,2.25)))
neurona.add(gdstk.Reference(straight_route_ddeb0624, (2,2.25)))
neurona.add(gdstk.Reference(c_route_d1026765, (2,2.25)))
neurona.add(gdstk.Reference(via_stack_05d99bde, (40.56,8.365)))
neurona.add(gdstk.Reference(straight_route_e694242e, (2,2.25)))
neurona.add(gdstk.Reference(l_route_fa611628, (2,2.25)))
neurona.add(gdstk.Reference(l_route_804dd962, (2,2.25)))
neurona.add(gdstk.Reference(rectangle_85b0b276, (19.71,10.005)))
neurona.add(gdstk.Reference(via_stack_05d99bde_1, (42.1,14.465)))
neurona.add(gdstk.Reference(via_stack_05d99bde_1, (42.1,12.29)))
neurona.add(gdstk.Reference(via_stack_05d99bde_1, (1.165,12.29)))
neurona.add(gdstk.Reference(straight_route_1ce3acfd, (0,0)))
neurona.add(gdstk.Reference(straight_route_21e65f9e, (0,0)))
neurona.add(gdstk.Reference(straight_route_036f5a70, (0,0)))
neurona.add(gdstk.Label('vdd', (21.51,18.955), layer=70, texttype=16))
neurona.add(gdstk.Label('vss', (21.51,0.75), layer=70, texttype=16))
neurona.add(gdstk.Label('Iin', (1.165,12.29), layer=69, texttype=16))
neurona.add(gdstk.Label('spike_neg', (42.1,12.29), layer=69, texttype=16))
neurona.add(gdstk.Label('spike', (42.1,14.465), layer=69, texttype=16))

lib.write_gds('neurona.gds')
